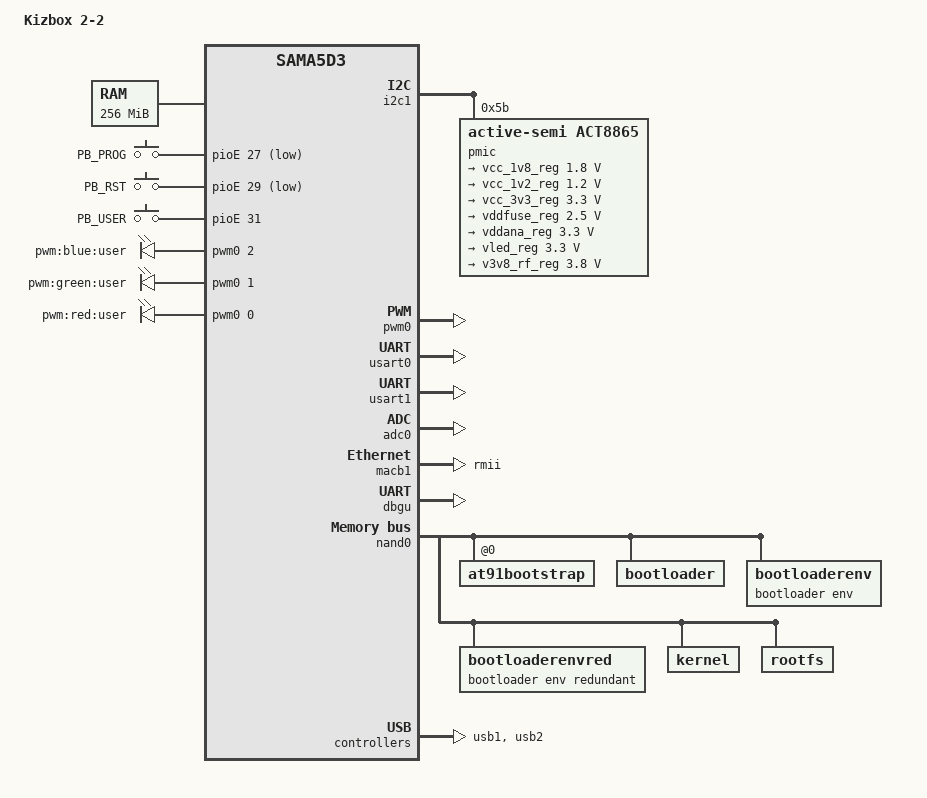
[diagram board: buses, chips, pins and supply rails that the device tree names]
/*
 * at91-sama5d3_xplained.dts - Device Tree file for the SAMA5D3 Xplained board
 *
 *  Copyright (C) 2014 Atmel,
 *		  2014 Nicolas Ferre <nicolas.ferre@atmel.com>
 *
 * Licensed under GPLv2 or later.
 */
/dts-v1/;
#include "sama5d31.dtsi"

/ {
	model = "Kizbox 2-2";
	compatible = "atmel,sama5d3-xplained", "atmel,sama5d3", "atmel,sama5";

	chosen {
		u-boot,dm-pre-reloc;
		stdout-path = &dbgu;
	};

	aliases {
		spi0 = &spi0;
	};

	memory {
		reg = <0x20000000 0x10000000>;
	};

	clocks {
		slow_xtal {
			clock-frequency = <32768>;
		};

		main_xtal {
			clock-frequency = <12000000>;
		};
	};

	ahb {
		apb {

			i2c1: i2c@f0018000 {
				status = "okay";

				pmic: act8865@5b {
					compatible = "active-semi,act8865";
					reg = <0x5b>;
					status = "okay";

					regulators {
						vcc_1v8_reg: DCDC_REG1 {
				            regulator-name = "VCC_1V8";
				            regulator-min-microvolt = <1800000>;
				            regulator-max-microvolt = <1800000>;
				            regulator-always-on;
			            };

			            vcc_1v2_reg: DCDC_REG2 {
				            regulator-name = "VCC_1V2";
				            regulator-min-microvolt = <1200000>;
				            regulator-max-microvolt = <1200000>;
				            regulator-always-on;
			            };

			            vcc_3v3_reg: DCDC_REG3 {
				            regulator-name = "VCC_3V3";
				            regulator-min-microvolt = <3300000>;
				            regulator-max-microvolt = <3300000>;
				            regulator-always-on;
			            };

			            vddfuse_reg: LDO_REG1 {
				            regulator-name = "FUSE_2V5";
				            regulator-min-microvolt = <2500000>;
				            regulator-max-microvolt = <2500000>;
			            };

			            vddana_reg: LDO_REG2 {
				            regulator-name = "VDDANA";
				            regulator-min-microvolt = <3300000>;
				            regulator-max-microvolt = <3300000>;
				            regulator-always-on;
			            };

			            vled_reg: LDO_REG3 {
				            regulator-name = "VLED";
				            regulator-min-microvolt = <3300000>;
				            regulator-max-microvolt = <3300000>;
				            regulator-always-on;
			            };

			            v3v8_rf_reg: LDO_REG4 {
				            regulator-name = "V3V8_RF";
				            regulator-min-microvolt = <3800000>;
				            regulator-max-microvolt = <3800000>;
				            regulator-always-on;
			            };
					};
				};
			};

			pwm0: pwm@f002c000 {
				pinctrl-names = "default";
	            pinctrl-0 = <&pinctrl_pwm0_pwmh0_1
		                 &pinctrl_pwm0_pwmh1_1
		                 &pinctrl_pwm0_pwmh2_0>;
	            status = "okay";
			};

			usart0: serial@f001c000 {
				status = "okay";
			};

			usart1: serial@f0020000 {
				pinctrl-0 = <&pinctrl_usart1 &pinctrl_usart1_rts_cts>;
				status = "okay";
			};

			adc0: adc@f8018000 {
				atmel,adc-vref = <3333>;
            	status = "okay";
			};

			macb1: ethernet@f802c000 {
				phy-mode = "rmii";
            	status = "okay";
			};

			dbgu: serial@ffffee00 {
				u-boot,dm-pre-reloc;
				status = "okay";
			};
/*
			pinctrl@fffff200 {
				board {
					u-boot,dm-pre-reloc;

					pinctrl_usba_vbus: usba_vbus {
						atmel,pins =
							<AT91_PIOE 9 AT91_PERIPH_GPIO AT91_PINCTRL_DEGLITCH>;
					};

				};
			};
*/
		};

		nand0: nand@60000000 {
		    reg = <0x3 0x0 0x2>;
		    atmel,rb = <0>;
		    nand-bus-width = <8>;
		    nand-ecc-mode = "hw";
		    atmel,has-pmecc;
			atmel,pmecc-cap = <4>;
			atmel,pmecc-sector-size = <512>;
			nand-on-flash-bbt;
			status = "okay";

			at91bootstrap@0 {
				label = "at91bootstrap";
				reg = <0x0 0x40000>;
			};

			bootloader@40000 {
				label = "bootloader";
				reg = <0x40000 0x100000>;
			};

			bootloaderenv@140000 {
				label = "bootloader env";
				reg = <0x140000 0x180000>;
			};
			
			bootloaderenvred@100000 {
				label = "bootloader env redundant";
				reg = <0x100000 0x140000>;
			};

			kernel@180000 {
				label = "kernel";
				reg = <0x180000 0x800000>;
			};

			rootfs@800000 {
				label = "rootfs";
				reg = <0x800000 0x7fe0000>;
			};
		};

		usb1: ohci@00600000 {
			status = "okay";
		};

		usb2: ehci@00700000 {
			status = "okay";
		};
	};

	gpio_keys {
	    compatible = "gpio-keys";
		#address-cells = <1>;
		#size-cells = <0>;

		prog {
			label = "PB_PROG";
			gpios = <&pioE 27 GPIO_ACTIVE_LOW>;
			linux,code = <0x102>;
			wakeup-source;
		};

		reset {
			label = "PB_RST";
			gpios = <&pioE 29 GPIO_ACTIVE_LOW>;
			linux,code = <0x100>;
			wakeup-source;
		};

		user {
			label = "PB_USER";
			gpios = <&pioE 31 GPIO_ACTIVE_HIGH>;
			linux,code = <0x101>;
			wakeup-source;
		};
	};

	led-controller {
		compatible = "pwm-leds";

		led-1 {
			label = "pwm:blue:user";
			pwms = <&pwm0 2 10000000 0>;
			max-brightness = <255>;
			linux,default-trigger = "none";
		};

		led-2 {
			label = "pwm:green:user";
			pwms = <&pwm0 1 10000000 0>;
			max-brightness = <255>;
			linux,default-trigger = "default-on";
		};

		led-3 {
			label = "pwm:red:user";
			pwms = <&pwm0 0 10000000 0>;
			max-brightness = <255>;
			linux,default-trigger = "default-on";
		};
	};
};
